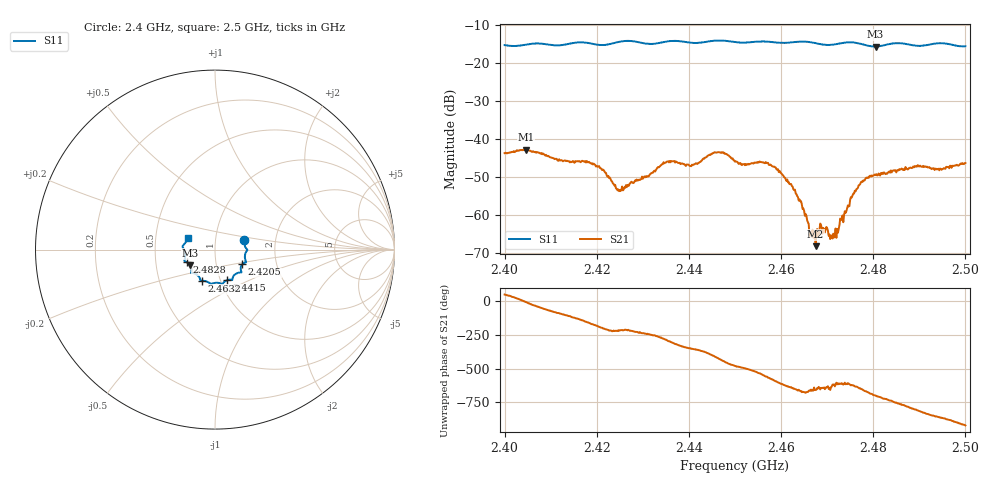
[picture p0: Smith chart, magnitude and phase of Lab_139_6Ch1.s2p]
# Hz S RI R 50
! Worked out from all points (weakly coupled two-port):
!   601 points, 2.4 GHz to 2.5 GHz, reference 50 ohm
!   highest |S21| = -42.90 dB at 2.4047 GHz (marker M1); lowest = -68.3 dB at 2.4675 GHz (marker M2)
!   lowest |S11| = -15.7 dB at 2.4805 GHz (marker M3), VSWR 1.39, Z = 37.3 - j6.7 ohm
!   |S11| at or under -10 dB: start of sweep to end of sweep
!   S12 and S22 are empty: the file has one direction only
!   S11 on the Smith chart (normalised r, x): 2.4 GHz: 1.38, +0.15; 2.4205 GHz: 1.34, -0.22; 2.4415 GHz: 1.07, -0.38; 2.4632 GHz: 0.82, -0.29; 2.4828 GHz: 0.72, -0.10; 2.5 GHz: 0.73, +0.10
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2.4e9  0.1634 0.0517  0.00426 0.00488  0 0  0 0
2.404667e9  0.1742 0.00601  0.0071 -0.000927  0 0  0 0
2.416667e9  0.173 -0.0699  -0.00396 -0.0031  0 0  0 0
2.4205e9  0.152 -0.0816  -0.00429 0.000816  0 0  0 0
2.424833e9  0.1457 -0.1209  -0.00157 0.0013  0 0  0 0
2.433333e9  0.1004 -0.1516  -0.000457 0.00422  0 0  0 0
2.436333e9  0.0969 -0.1688  0.0031 0.00401  0 0  0 0
2.4415e9  0.0656 -0.1707  0.00475 1.79e-06  0 0  0 0
2.446e9  0.0412 -0.1926  0.00346 -0.0056  0 0  0 0
2.45e9  0.0242 -0.1865  -0.00259 -0.00428  0 0  0 0
2.457167e9  -0.027 -0.1884  -0.00424 0.00229  0 0  0 0
2.459833e9  -0.0455 -0.1781  -0.00119 0.0034  0 0  0 0
2.463167e9  -0.0732 -0.1739  0.000785 0.00175  0 0  0 0
2.466667e9  -0.0823 -0.167  0.000292 0.000418  0 0  0 0
2.4675e9  -0.084 -0.1613  0.000181 0.00034  0 0  0 0
2.468833e9  -0.0901 -0.1504  0.000168 0.000639  0 0  0 0
2.4715e9  -0.1139 -0.1325  -0.000109 0.000489  0 0  0 0
2.476833e9  -0.1321 -0.1237  0.000534 0.00238  0 0  0 0
2.4805e9  -0.1388 -0.0875  0.00313 0.00111  0 0  0 0
2.482833e9  -0.1586 -0.0702  0.00347 -0.000353  0 0  0 0
2.483333e9  -0.1625 -0.0682  0.00354 -0.000926  0 0  0 0
2.5e9  -0.1529 0.0643  -0.00443 0.00181  0 0  0 0
